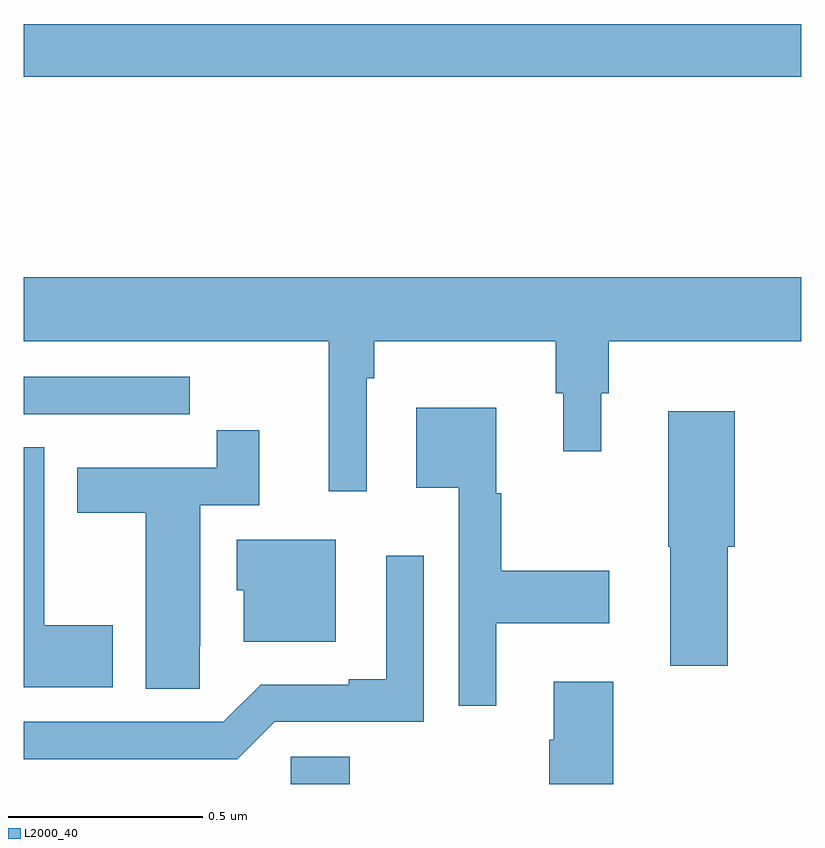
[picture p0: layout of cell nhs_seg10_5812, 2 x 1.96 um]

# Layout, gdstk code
import gdstk
lib = gdstk.Library(unit=1e-6, precision=1e-09)
def R(c, l, rs):  # rectangles x0, y0, x1, y1
    for r in rs: c.add(gdstk.rectangle(r[:2], r[2:], *l))
def P(c, l, *ps):  # polygons
    for p in ps: c.add(gdstk.Polygon(p, *l))
L2000_40 = (2000, 40)

nhs_seg10_5812 = lib.new_cell('nhs_seg10_5812')
R(nhs_seg10_5812, L2000_40, [(183.687,1308.5,183.839,1308.57), (183,1310.32,185,1310.456)])
P(nhs_seg10_5812, L2000_40, [(183.882,1309.544),(183.902,1309.544),(183.902,1309.64),(184.369,1309.64),(184.369,1309.506),(184.388,1309.506),(184.388,1309.356),(184.486,1309.356),(184.486,1309.506),(184.505,1309.506),(184.505,1309.64),(185,1309.64),(185,1309.804),(183,1309.804),(183,1309.64),(183.785,1309.64),(183.785,1309.254),(183.882,1309.254)],
  [(183.314,1309.452),(183.427,1309.452),(183.427,1309.548),(183,1309.548),(183,1309.452),(183.148,1309.452),(183.148,1309.451),(183.314,1309.451)],
  [(184.216,1308.914),(184.507,1308.914),(184.507,1309.049),(184.228,1309.049),(184.228,1309.248),(184.216,1309.248),(184.216,1309.468),(184.01,1309.468),(184.01,1309.262),(184.119,1309.262),(184.119,1308.702),(184.216,1308.702)],
  [(184.811,1309.11),(184.829,1309.11),(184.829,1309.459),(184.658,1309.459),(184.658,1309.11),(184.664,1309.11),(184.664,1308.804),(184.811,1308.804)],
  [(183.453,1308.856),(183.454,1308.856),(183.454,1309.218),(183.605,1309.218),(183.605,1309.411),(183.496,1309.411),(183.496,1309.314),(183.137,1309.314),(183.137,1309.198),(183.314,1309.198),(183.314,1308.745),(183.453,1308.745)],
  [(183.229,1308.909),(183.052,1308.909),(183.052,1309.367),(183,1309.367),(183,1308.749),(183.229,1308.749)],
  [(183.802,1309.129),(183.548,1309.129),(183.548,1308.999),(183.566,1308.999),(183.566,1308.866),(183.802,1308.866)],
  [(183.645,1308.66),(184.029,1308.66),(184.029,1309.087),(183.932,1309.087),(183.932,1308.769),(183.836,1308.769),(183.836,1308.756),(183.609,1308.756),(183.513,1308.66),(183,1308.66),(183,1308.564),(183.549,1308.564)],
  [(184.517,1308.763),(184.364,1308.763),(184.364,1308.614),(184.352,1308.614),(184.352,1308.5),(184.517,1308.5)])

lib.write_gds('nhs_seg10_5812.gds')
